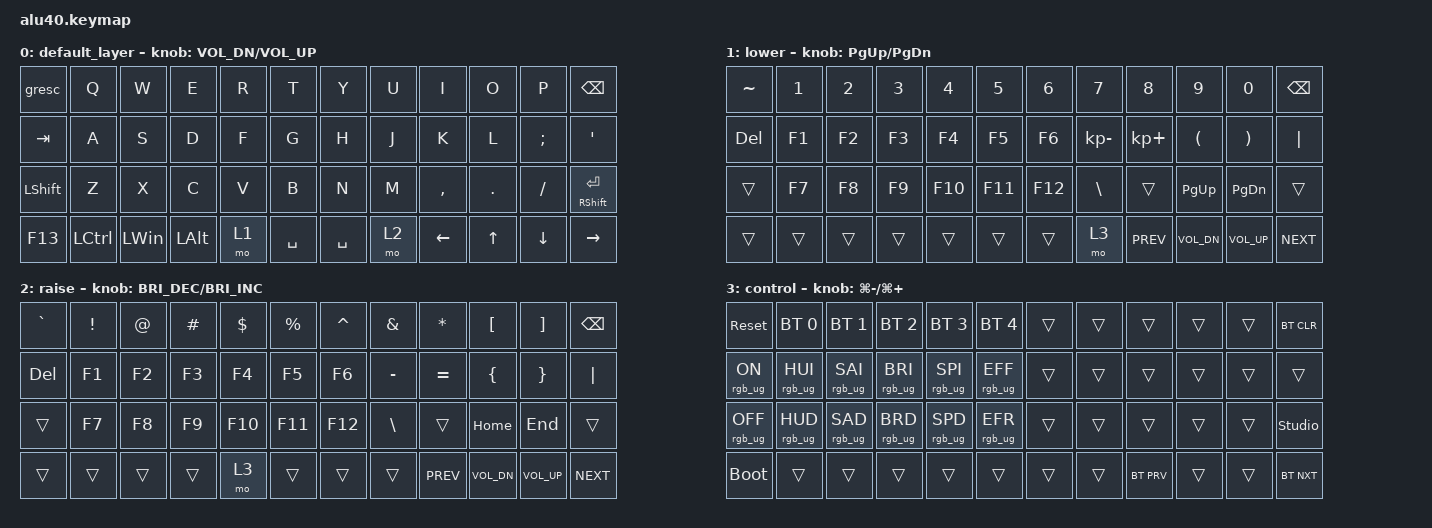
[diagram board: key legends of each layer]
/*
 * Copyright (c) 2022 The ZMK Contributors
 *
 * SPDX-License-Identifier: MIT
 */

#include <behaviors.dtsi>
#include <dt-bindings/zmk/bt.h>
#include <dt-bindings/zmk/keys.h>
#include <dt-bindings/zmk/rgb.h>

/ {
    keymap {
        compatible = "zmk,keymap";

        default_layer {
            // -----------------------------------------------------------------------------------------
            // | ESC/~ |  Q   |  W   |  E   |  R   |  T   |   Y   |  U    |  I   |  O   |   P   | BSPC  |
            // | TAB   |  A   |  S   |  D   |  F   |  G   |   H   |  J    |  K   |  L   |   ;   |  '    |
            // | SHIFT |  Z   |  X   |  C   |  V   |  B   |   N   |  M    |  ,   |  .   |   /   |RET/SFT|
            // | PLAY  | LCTL | LALT | LGUI | LOWR |     SPACE    |  RAIS | LARW | UARW | DARW  |  RARW |

            bindings = <
&gresc     &kp Q      &kp W         &kp E         &kp R  &kp T      &kp Y      &kp U  &kp I      &kp O    &kp P     &kp BSPC
&kp TAB    &kp A      &kp S         &kp D         &kp F  &kp G      &kp H      &kp J  &kp K      &kp L    &kp SEMI  &kp SQT
&kp LSHFT  &kp Z      &kp X         &kp C         &kp V  &kp B      &kp N      &kp M  &kp COMMA  &kp DOT  &kp FSLH  &mt RSHFT RET
&kp F13    &kp LCTRL  &kp LEFT_WIN  &kp LEFT_ALT  &mo 1  &kp SPACE  &kp SPACE  &mo 2  &kp LEFT   &kp UP   &kp DOWN  &kp RIGHT
            >;

            sensor-bindings = <&inc_dec_kp C_VOL_DN C_VOL_UP>;
        };

        lower {
            bindings = <
&kp TILDE  &kp NUMBER_1  &kp NUMBER_2  &kp NUMBER_3  &kp NUMBER_4  &kp N5   &kp NUMBER_6  &kp N7         &kp N8       &kp N9                &kp N0                 &kp BACKSPACE
&kp DEL    &kp F1        &kp F2        &kp F3        &kp F4        &kp F5   &kp F6        &kp KP_MINUS   &kp KP_PLUS  &kp LEFT_PARENTHESIS  &kp RIGHT_PARENTHESIS  &kp PIPE
&trans     &kp F7        &kp F8        &kp F9        &kp F10       &kp F11  &kp F12       &kp BACKSLASH  &trans       &kp PG_UP             &kp PAGE_DOWN          &trans
&trans     &trans        &trans        &trans        &trans        &trans   &trans        &mo 3          &kp C_PREV   &kp C_VOL_DN          &kp C_VOL_UP           &kp C_NEXT
            >;

            sensor-bindings = <&inc_dec_kp PG_UP PG_DN>;
        };

        raise {
            bindings = <
&kp GRAVE  &kp EXCLAMATION  &kp AT_SIGN  &kp HASH  &kp DOLLAR  &kp PERCENT  &kp CARET  &kp AMPERSAND  &kp ASTERISK  &kp LEFT_BRACKET  &kp RIGHT_BRACKET  &kp BSPC
&kp DEL    &kp F1           &kp F2       &kp F3    &kp F4      &kp F5       &kp F6     &kp MINUS      &kp EQUAL     &kp LEFT_BRACE    &kp RIGHT_BRACE    &kp PIPE
&trans     &kp F7           &kp F8       &kp F9    &kp F10     &kp F11      &kp F12    &kp BACKSLASH  &trans        &kp HOME          &kp END            &trans
&trans     &trans           &trans       &trans    &mo 3       &trans       &trans     &trans         &kp C_PREV    &kp C_VOL_DN      &kp C_VOL_UP       &kp C_NEXT
            >;

            sensor-bindings = <&inc_dec_kp C_BRI_DEC C_BRI_INC>;
        };

        control {
            bindings = <
&sys_reset       &bt BT_SEL 0     &bt BT_SEL 1     &bt BT_SEL 2     &bt BT_SEL 3     &bt BT_SEL 4     &trans  &trans  &trans      &trans  &trans  &bt BT_CLR
&rgb_ug RGB_ON   &rgb_ug RGB_HUI  &rgb_ug RGB_SAI  &rgb_ug RGB_BRI  &rgb_ug RGB_SPI  &rgb_ug RGB_EFF  &trans  &trans  &trans      &trans  &trans  &trans
&rgb_ug RGB_OFF  &rgb_ug RGB_HUD  &rgb_ug RGB_SAD  &rgb_ug RGB_BRD  &rgb_ug RGB_SPD  &rgb_ug RGB_EFR  &trans  &trans  &trans      &trans  &trans  &studio_unlock
&bootloader      &trans           &trans           &trans           &trans           &trans           &trans  &trans  &bt BT_PRV  &trans  &trans  &bt BT_NXT
            >;

            sensor-bindings = <&inc_dec_kp LG(MINUS) LG(PLUS)>;
        };
    };
};
